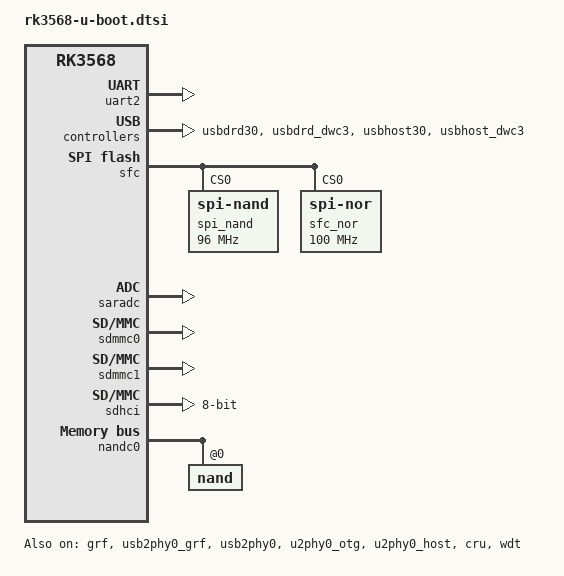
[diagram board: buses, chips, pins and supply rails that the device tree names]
/*
 * (C) Copyright 2020 Rockchip Electronics Co., Ltd
 *
 * SPDX-License-Identifier:     GPL-2.0+
 */

/ {
	aliases {
		mmc0 = &sdhci;
		mmc1 = &sdmmc0;
		mmc2 = &sdmmc1;
	};

	chosen {
		stdout-path = &uart2;
		u-boot,spl-boot-order = &sdmmc0, &sdhci, &nandc0, &spi_nand, &spi_nor;
	};
};

&crypto {
	u-boot,dm-pre-reloc;
};

&uart2 {
	clock-frequency = <24000000>;
	u-boot,dm-spl;
	/delete-property/ pinctrl-names;
	/delete-property/ pinctrl-0;
	status = "okay";
};

&grf {
	u-boot,dm-pre-reloc;
	status = "okay";
};

&pmugrf {
	u-boot,dm-pre-reloc;
	status = "okay";
};

&usb2phy0_grf {
	u-boot,dm-pre-reloc;
	status = "okay";
};

&usbdrd30 {
	u-boot,dm-pre-reloc;
	status = "okay";
};

&usbdrd_dwc3 {
	u-boot,dm-pre-reloc;
	status = "okay";
};

&usbhost30 {
	u-boot,dm-pre-reloc;
	status = "okay";
};

&usbhost_dwc3 {
	u-boot,dm-pre-reloc;
	status = "okay";
};

&usb2phy0 {
	u-boot,dm-pre-reloc;
	status = "okay";
};

&u2phy0_otg {
	u-boot,dm-pre-reloc;
	status = "okay";
};

&u2phy0_host {
	u-boot,dm-pre-reloc;
	status = "okay";
};

&cru {
	u-boot,dm-pre-reloc;
	status = "okay";
};

&pmucru {
	u-boot,dm-pre-reloc;
	status = "okay";
};

&sfc {
	u-boot,dm-spl;
	/delete-property/ pinctrl-names;
	/delete-property/ pinctrl-0;
	/delete-property/ assigned-clocks;
	/delete-property/ assigned-clock-rates;
	status = "okay";

	#address-cells = <1>;
	#size-cells = <0>;
	spi_nand: flash@0 {
		u-boot,dm-spl;
		compatible = "spi-nand";
		reg = <0>;
		spi-tx-bus-width = <1>;
		spi-rx-bus-width = <4>;
		spi-max-frequency = <96000000>;
	};

	spi_nor: flash@1 {
		u-boot,dm-spl;
		compatible = "jedec,spi-nor";
		label = "sfc_nor";
		reg = <0>;
		spi-tx-bus-width = <1>;
		spi-rx-bus-width = <4>;
		spi-max-frequency = <100000000>;
	};
};

&saradc {
	u-boot,dm-spl;
	status = "okay";
};

&sdmmc0 {
	u-boot,dm-spl;
	status = "okay";
};

&sdmmc0_pins {
	u-boot,dm-spl;
};

&sdmmc0_bus4 {
	u-boot,dm-spl;
};

&sdmmc0_clk {
	u-boot,dm-spl;
};

&sdmmc0_cmd {
	u-boot,dm-spl;
};

&sdmmc0_det {
	u-boot,dm-spl;
};

&sdmmc1 {
	u-boot,dm-spl;
	/delete-property/ pinctrl-names;
	/delete-property/ pinctrl-0;
	status = "okay";
};

&sdhci {
	bus-width = <8>;
	u-boot,dm-spl;
	/delete-property/ pinctrl-names;
	/delete-property/ pinctrl-0;
	mmc-hs200-1_8v;
	status = "okay";
};

&nandc0 {
	u-boot,dm-spl;
	status = "okay";
	#address-cells = <1>;
	#size-cells = <0>;
	/delete-property/ pinctrl-names;
	/delete-property/ pinctrl-0;

	nand@0 {
		u-boot,dm-spl;
		reg = <0>;
		nand-ecc-mode = "hw_syndrome";
		nand-ecc-strength = <16>;
		nand-ecc-step-size = <1024>;
	};
};

&pinctrl {
	u-boot,dm-spl;
	status = "okay";
};

&gpio0 {
	u-boot,dm-spl;
};

&gpio1 {
	u-boot,dm-spl;
};

&gpio2 {
	u-boot,dm-spl;
};

&pcfg_pull_up_drv_level_2 {
	u-boot,dm-spl;
};

&pcfg_pull_none {
	u-boot,dm-spl;
};

&secure_otp {
	u-boot,dm-spl;
};

&wdt {
	u-boot,dm-pre-reloc;
	status = "okay";
};
